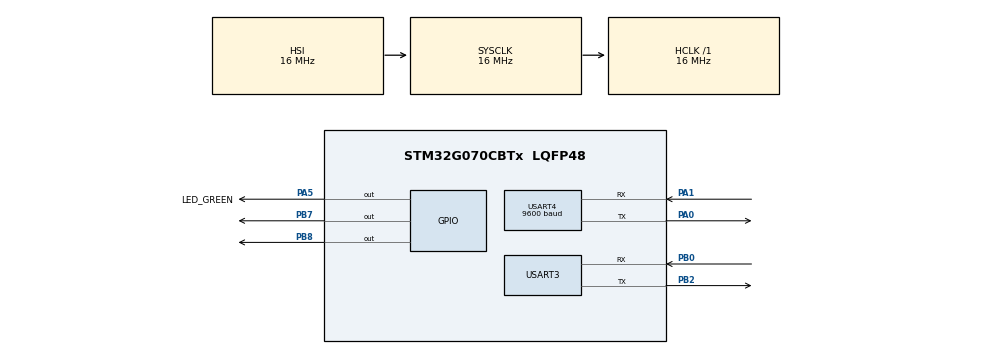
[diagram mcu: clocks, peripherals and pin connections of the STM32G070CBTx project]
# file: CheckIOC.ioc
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Mcu.Family=STM32G0
Mcu.Name=STM32G070CBTx
Mcu.Package=LQFP48
NVIC.USART3_4_IRQn=true\:0\:0\:false\:false\:true\:true\:true\:true
PA0.Mode=Asynchronous
PA0.Signal=USART4_TX
PA1.Mode=Asynchronous
PA1.Signal=USART4_RX
PA13.Mode=Serial_Wire
PA13.Signal=SYS_SWDIO
PA14-BOOT0.Mode=Serial_Wire
PA14-BOOT0.Signal=SYS_SWCLK
PA5.GPIO_Label=LED_GREEN
PA5.GPIO_Speed=GPIO_SPEED_FREQ_HIGH
PA5.Signal=GPIO_Output
PB0.Mode=Asynchronous
PB0.Signal=USART3_RX
PB2.Mode=Asynchronous
PB2.Signal=USART3_TX
PB7.Signal=GPIO_Output
PB8.Signal=GPIO_Output
PC14-OSC32_IN\ (PC14).Mode=LSE-External-Oscillator
PC14-OSC32_IN\ (PC14).Signal=RCC_OSC32_IN
PC15-OSC32_OUT\ (PC15).Mode=LSE-External-Oscillator
PC15-OSC32_OUT\ (PC15).Signal=RCC_OSC32_OUT
PF0-OSC_IN\ (PF0).GPIO_Label=MCO
PF0-OSC_IN\ (PF0).Signal=RCC_OSC_IN
ProjectManager.HeapSize=0x200
ProjectManager.StackSize=0x400
ProjectManager.TargetToolchain=STM32CubeIDE
RCC.AHBFreq_Value=16000000
RCC.CortexFreq_Value=16000000
RCC.EXTERNAL_CLOCK_VALUE=48000
RCC.HCLKFreq_Value=16000000
RCC.HSE_VALUE=8000000
RCC.HSI_VALUE=16000000
RCC.SYSCLKFreq_VALUE=16000000
RCC.VCOOutputFreq_Value=128000000
USART3.VirtualMode-Asynchronous=VM_ASYNC
USART4.BaudRate=9600
USART4.VirtualMode-Asynchronous=VM_ASYNC
board=custom

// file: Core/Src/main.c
/* USER CODE BEGIN Header */
/**
  ******************************************************************************
  * @file           : main.c
  * @brief          : Main program body
  ******************************************************************************
  * @attention
  *
  * Copyright (c) 2024 STMicroelectronics.
  * All rights reserved.
  *
  * This software is licensed under terms that can be found in the LICENSE file
  * in the root directory of this software component.
  * If no LICENSE file comes with this software, it is provided AS-IS.
  *
  ******************************************************************************
  */
/* USER CODE END Header */
#include "main.h"

/* USER CODE BEGIN Includes */
#include <config.h>
#include <mqtt.h>
#include <string.h>
#include <stdio.h>
#include <stdbool.h>
/* USER CODE END Includes */

/* USER CODE BEGIN PD */
#define LED_Pin GPIO_PIN_5
#define LED_GPIO_Port GPIOA

/* USER CODE END PD */

UART_HandleTypeDef huart3;
UART_HandleTypeDef huart4;

/* USER CODE BEGIN PV */
uint8_t txData[] = TX_DATA;
uint8_t data[70] = {0};
HAL_StatusTypeDef Inverter_receive_status ;

/* USER CODE END PV */

void SystemClock_Config(void);
static void MX_GPIO_Init(void);
static void MX_USART3_UART_Init(void);
static void MX_USART4_UART_Init(void);

int main(void)
{

  /* MCU Configuration--------------------------------------------------------*/

  /* Reset of all peripherals, Initializes the Flash interface and the Systick. */
  HAL_Init();

  /* Configure the system clock */
  SystemClock_Config();

  /* Initialize all configured peripherals */
  MX_GPIO_Init();
  MX_USART3_UART_Init();
  MX_USART4_UART_Init();
  /* USER CODE BEGIN 2 */
//  uint8_t data[PACKET_DATA_LENGTH] = {
//  	      0x67, 0xA4, 0x0A, 0x00, 0x00, 0x4F, 0x00, 0x00, 0x00, 0x00, 0x00, 0x00, 0x00, 0xC2, 0x08, 0x47,
//  	      0x00, 0x0D, 0x00, 0x07, 0x00, 0x00, 0x00, 0x00, 0x00, 0x00, 0x00, 0x21, 0x42, 0x00, 0x01, 0x05,
//  	      0x00, 0x00, 0x00, 0x00, 0x00, 0x00, 0x00, 0x00, 0x00, 0x00, 0x00, 0x00, 0x00, 0x00, 0x00, 0x00,
//  	      0x00, 0x00, 0x00, 0x00, 0x00, 0x69, 0x12, 0x34, 0x56, 0x78, 0x9A, 0xBC, 0xDE, 0xF0, 0x11, 0x22,
//  	      0x33, 0x44, 0x55, 0x66, 0x77, 0x88
//  };
  const char static *ca_cert =
"\
-----BEGIN CERTIFICATE-----\n\
MIIDQTCCAimgAwIBAgITBmyfz5m/jAo54vB4ikPmljZbyjANBgkqhkiG9w0BAQsF\n\
ADA5MQswCQYDVQQGEwJVUzEPMA0GA1UEChMGQW1hem9uMRkwFwYDVQQDExBBbWF6\n\
b24gUm9vdCBDQSAxMB4XDTE1MDUyNjAwMDAwMFoXDTM4MDExNzAwMDAwMFowOTEL\n\
MAkGA1UEBhMCVVMxDzANBgNVBAoTBkFtYXpvbjEZMBcGA1UEAxMQQW1hem9uIFJv\n\
b3QgQ0EgMTCCASIwDQYJKoZIhvcNAQEBBQADggEPADCCAQoCggEBALJ4gHHKeNXj\n\
ca9HgFB0fW7Y14h29Jlo91ghYPl0hAEvrAIthtOgQ3pOsqTQNroBvo3bSMgHFzZM\n\
9O6II8c+6zf1tRn4SWiw3te5djgdYZ6k/oI2peVKVuRF4fn9tBb6dNqcmzU5L/qw\n\
IFAGbHrQgLKm+a/sRxmPUDgH3KKHOVj4utWp+UhnMJbulHheb4mjUcAwhmahRWa6\n\
VOujw5H5SNz/0egwLX0tdHA114gk957EWW67c4cX8jJGKLhD+rcdqsq08p8kDi1L\n\
93FcXmn/6pUCyziKrlA4b9v7LWIbxcceVOF34GfID5yHI9Y/QCB/IIDEgEw+OyQm\n\
jgSubJrIqg0CAwEAAaNCMEAwDwYDVR0TAQH/BAUwAwEB/zAOBgNVHQ8BAf8EBAMC\n\
AYYwHQYDVR0OBBYEFIQYzIU07LwMlJQuCFmcx7IQTgoIMA0GCSqGSIb3DQEBCwUA\n\
A4IBAQCY8jdaQZChGsV2USggNiMOruYou6r4lK5IpDB/G/wkjUu0yKGX9rbxenDI\n\
U5PMCCjjmCXPI6T53iHTfIUJrU6adTrCC2qJeHZERxhlbI1Bjjt/msv0tadQ1wUs\n\
N+gDS63pYaACbvXy8MWy7Vu33PqUXHeeE6V/Uq2V8viTO96LXFvKWlJbYK8U90vv\n\
o/ufQJVtMVT8QtPHRh8jrdkPSHCa2XV4cdFyQzR1bldZwgJcJmApzyMZFo6IQ6XU\n\
5MsI+yMRQ+hDKXJioaldXgjUkK642M4UwtBV8ob2xJNDd2ZhwLnoQdeXeGADbkpy\n\
rqXRfboQnoZsG4q5WTP468SQvvG5\n\
-----END CERTIFICATE-----\n\
";

  const char static *client_cert =
"\
-----BEGIN CERTIFICATE-----\n\
MIIDWjCCAkKgAwIBAgIVAIA8A7zHYbDu5KbIVfmvcL1SkCnDMA0GCSqGSIb3DQEB\n\
CwUAME0xSzBJBgNVBAsMQkFtYXpvbiBXZWIgU2VydmljZXMgTz1BbWF6b24uY29t\n\
IEluYy4gTD1TZWF0dGxlIFNUPVdhc2hpbmd0b24gQz1VUzAeFw0yNDA5MjUwODA2\n\
MTJaFw00OTEyMzEyMzU5NTlaMB4xHDAaBgNVBAMME0FXUyBJb1QgQ2VydGlmaWNh\n\
dGUwggEiMA0GCSqGSIb3DQEBAQUAA4IBDwAwggEKAoIBAQCWo14QKB32Gq0SftMD\n\
1yjGHJiboqGZOtc0xl99qqigIygAHr6dXTrKA7Mc/MIpOtRs0u/iFpAzKIRO70iG\n\
BHvTMkyjfMqIvkjGX894TTKFta8Xnjnc+l9WHK2rcRrH9TsV4HVmDfKKwHrDMlSw\n\
o5UYvjJgeP+ip24ZDciCGw5XdToZcgXuYoUo4EqRGJAm17VREOeV5eM8vXW+GZM6\n\
tDu6HW/i6i7e+S6MUgwD0le9tLh7p4COLDE7u0d/iXw9lqMRJ4OkVDArIeaa1Omc\n\
ZmulyU5gZUILg7ld3PNo6W9qNqdj3GdMuo8UuloH1jxOCxV10O4kQ63+kn3SEHGk\n\
tQrFAgMBAAGjYDBeMB8GA1UdIwQYMBaAFIp6qbehQFNJ/U305+QhnnufqTo1MB0G\n\
A1UdDgQWBBTPObeEr7PK8ewAUD4aeZTp7bDGLzAMBgNVHRMBAf8EAjAAMA4GA1Ud\n\
DwEB/wQEAwIHgDANBgkqhkiG9w0BAQsFAAOCAQEAT0H/aDIh61kuFnFJieVYyHok\n\
W+n/eiUivX5/xnPuwyvzQngoWrHeMzgZWGGjJ/FJhA1eVwSSQ7rX5ZmM6WwSBSd+\n\
oiJLwcMq+MmCCmnrzFiEh1dpdb1y9RHOVTJ1tWgQhcy3A3LTYIMaBwfK9sXKbLOt\n\
cUfeN+Uotbc7PP7DV8mKJq3laKngSt+gfNmbWKmEq+IAOOn45VMezgveWU7ywMaW\n\
+VVFIfQ6egWI/LIM40qMaHNHy0Jsa9WsKTDNuk339jN3dyOtJzps09nxRV+mmDOs\n\
87Zw2WpPlM+EtKwnOK2yeUd19HGlw0nev4moExWsbGGww0ZzDiiv5UKQO9a9Qg==\n\
-----END CERTIFICATE-----\n\
";

  const char static *private_key =
"\
-----BEGIN RSA PRIVATE KEY-----\n\
MIIEowIBAAKCAQEAlqNeECgd9hqtEn7TA9coxhyYm6KhmTrXNMZffaqooCMoAB6+\n\
nV06ygOzHPzCKTrUbNLv4haQMyiETu9IhgR70zJMo3zKiL5Ixl/PeE0yhbWvF545\n\
3PpfVhytq3Eax/U7FeB1Zg3yisB6wzJUsKOVGL4yYHj/oqduGQ3IghsOV3U6GXIF\n\
7mKFKOBKkRiQJte1URDnleXjPL11vhmTOrQ7uh1v4uou3vkujFIMA9JXvbS4e6eA\n\
jiwxO7tHf4l8PZajESeDpFQwKyHmmtTpnGZrpclOYGVCC4O5XdzzaOlvajanY9xn\n\
TLqPFLpaB9Y8TgsVddDuJEOt/pJ90hBxpLUKxQIDAQABAoIBAB8vHKbdly4+YXvF\n\
s2tFHFS+0LzPUwLEko6DTntWW+givwIfWzh6d1QgpfCnRo6Adj88/5nfL+TXS2SH\n\
1oyf2v5imEjz6X2bXrdqWCnAWWgir2eFQtdDIX9TGoS2OmQQmTWzLLp+wqoEpKVK\n\
Aww6IQBpR0Z/ZfRHEtyu5MZCUZq7AYi34rwwVJiS71L0xNCxg9+R9s8KWCjWjn50\n\
5WzeXZinisNB8oyt7H6dexl5oSOjR4Xwmp+7eZ3WlBj0YBsjlenWmgzyzAOXDKrx\n\
gSOcCQUal3vhOUitAd1iF4iN6bRqL8aABnzE4Pl+l9R5TCGSSLef2dHO6aKRNUzG\n\
Q0D/X1UCgYEAxMJz9WFy6jdYClyScQZbY/M0FN5YRqxib5DVjoY71Vq3olase5hq\n\
hLqhzDjNTexveL8WfnOHpcFeFVe5ee4ErthJwKiqNS/x5y5txOFWp1Tkeyrs9P/W\n\
tsxdldYK5WpxE2Jpn9iPoUgDSCVEoL8Nl+I1QZ9p8a6UAYbeYhszVqMCgYEAw/4I\n\
2W6OHI8BaaAYm8AAJaUUFY1SHOQCMzLhotC9kOdZNY8r1a5xWySLSiJe8GU8W8Wy\n\
YJ03b5VORYFgUgYi9rRzVz9tM/pkzt9yJIo0pP2EhhmWKwHbuGK9fCE618Wxr7Fe\n\
6PNgsUKGP7LO4j7YKV1USGx1IomRPBTvhuZGd3cCgYEAlGVkN6lrliJvkEEJYZ09\n\
yEBhA2w+f+77vtEpf/jVn7Bv10wvgngNvlVUOkaM8TxlRlg4it5vbCBO6SHkjYVq\n\
msQdu+R5muuyMn3d5CNfy4xHVm2lkZJzSiMQYjWwuh5xcgFDUH9wtF8vunYBMItn\n\
oSnGqNumd9UHY69oge2p5qkCgYBQUIF/2HYT7eY+SoTLDlsBEiywyECl5imgoXEl\n\
LzT/dE5yTEFCR0Hcf5U0w/DzwgiB8vmt7b8R0rVIdkPqWOlq/3dkgXFWo3076QT1\n\
RE1ebyUnbsTCyvgnDw9nFpbuZOzzelPSUimFeiVZZQSyYd5i1QP8ybUWehkx7cJa\n\
HXMy8QKBgALoOyjA4OM6E/addbhYgr7NfizU2M/7LU73Z3YRHqvzbT1mibHfQYp+\n\
ODuWXHRRTonXJLqVnRSsnszcqzeOkzZcleI4/0p7oWW5RWqEyHsa7OSwGqH9T0Cf\n\
L3hf30HuwtvmHlz/86avjZWig+Ww78pdo9jnsT8pXIOkH3Aj+Q+r\n\
-----END RSA PRIVATE KEY-----\n\
";
  bool cert1_status = false;
  bool cert2_status = false;
  bool cert3_status = false;
  //Quecteloff();
  Quectelon();

  while (!cert1_status){
	  cert1_status =  uploadcertificate1(ca_cert);
  }
  while (!cert2_status){
	  cert2_status =  uploadcertificate2(client_cert);
  }
  while (!cert3_status){
	  cert3_status =  uploadcertificate3(private_key);
  }
  assignPDPcontext();
  checkConnection();
  initializeMQTT();

  /* USER CODE END 2 */

  /* Infinite loop */
  while (1)
  {

    /* USER CODE BEGIN 3 */
//	  bool rcvmessage = false;
//	  Subscribetotopic("testpub1");
//	  memset(buffer, 0, sizeof(buffer));
//	  while(!rcvmessage)
//	  {
//		  rcvmessage = receiveMessage(400, 30000);
//		  HAL_Delay(30000);
//	  }
//	  UnsubscribefromTopic("testpub1");

	  bool TransmitDataMqtt_flag = false;

//
	  HAL_StatusTypeDef Inverter_receive_status=HAL_TIMEOUT;
	  while(Inverter_receive_status!=HAL_OK){
		  HAL_UART_Transmit_IT(&huart4, txData, sizeof(txData));
	  	  Inverter_receive_status=HAL_UART_Receive(&huart4, data, 70,3000);
	  	  HAL_GPIO_TogglePin(LED_GPIO_Port, LED_Pin);
	  }
	    // Transmit Data via MQTT through Quectel
	  uint8_t debug = 1;

	    TransmitDataMqtt_flag = TransmitDataMqtt(data,PACKET_DATA_LENGTH,&debug);

	    uint32_t last_tick = HAL_GetTick(); // Initialize the last tick time
	    while (((HAL_GetTick() - last_tick)) < MINUTES_INTERVAL)
	    {
	      if (TransmitDataMqtt_flag)
	      {

	        // Transmission Successful
	        HAL_GPIO_WritePin(LED_GPIO_Port, LED_Pin, GPIO_PIN_SET);
	        HAL_Delay(500);
	        HAL_GPIO_WritePin(LED_GPIO_Port, LED_Pin, GPIO_PIN_RESET);
	        HAL_Delay(500);
	      }
	      else
	      {
	        // Transmission Failed
	        HAL_GPIO_WritePin(LED_GPIO_Port, LED_Pin, GPIO_PIN_SET);
	        HAL_Delay(1500);
	        HAL_GPIO_WritePin(LED_GPIO_Port, LED_Pin, GPIO_PIN_RESET);
	        HAL_Delay(1500);
	      }
	    }

  }
  /* USER CODE END 3 */
}

void SystemClock_Config(void)
{
  RCC_OscInitTypeDef RCC_OscInitStruct = {0};
  RCC_ClkInitTypeDef RCC_ClkInitStruct = {0};

  /** Configure the main internal regulator output voltage
  */
  HAL_PWREx_ControlVoltageScaling(PWR_REGULATOR_VOLTAGE_SCALE1);

  /** Initializes the RCC Oscillators according to the specified parameters
  * in the RCC_OscInitTypeDef structure.
  */
  RCC_OscInitStruct.OscillatorType = RCC_OSCILLATORTYPE_HSI;
  RCC_OscInitStruct.HSIState = RCC_HSI_ON;
  RCC_OscInitStruct.HSIDiv = RCC_HSI_DIV1;
  RCC_OscInitStruct.HSICalibrationValue = RCC_HSICALIBRATION_DEFAULT;
  RCC_OscInitStruct.PLL.PLLState = RCC_PLL_NONE;
  if (HAL_RCC_OscConfig(&RCC_OscInitStruct) != HAL_OK)
  {
    Error_Handler();
  }

  /** Initializes the CPU, AHB and APB buses clocks
  */
  RCC_ClkInitStruct.ClockType = RCC_CLOCKTYPE_HCLK|RCC_CLOCKTYPE_SYSCLK
                              |RCC_CLOCKTYPE_PCLK1;
  RCC_ClkInitStruct.SYSCLKSource = RCC_SYSCLKSOURCE_HSI;
  RCC_ClkInitStruct.AHBCLKDivider = RCC_SYSCLK_DIV1;
  RCC_ClkInitStruct.APB1CLKDivider = RCC_HCLK_DIV1;

  if (HAL_RCC_ClockConfig(&RCC_ClkInitStruct, FLASH_LATENCY_0) != HAL_OK)
  {
    Error_Handler();
  }
}

static void MX_USART3_UART_Init(void)
{

  huart3.Instance = USART3;
  huart3.Init.BaudRate = 115200;
  huart3.Init.WordLength = UART_WORDLENGTH_8B;
  huart3.Init.StopBits = UART_STOPBITS_1;
  huart3.Init.Parity = UART_PARITY_NONE;
  huart3.Init.Mode = UART_MODE_TX_RX;
  huart3.Init.HwFlowCtl = UART_HWCONTROL_NONE;
  huart3.Init.OverSampling = UART_OVERSAMPLING_16;
  huart3.Init.OneBitSampling = UART_ONE_BIT_SAMPLE_DISABLE;
  huart3.Init.ClockPrescaler = UART_PRESCALER_DIV1;
  huart3.AdvancedInit.AdvFeatureInit = UART_ADVFEATURE_NO_INIT;
  if (HAL_UART_Init(&huart3) != HAL_OK)
  {
    Error_Handler();
  }

}

static void MX_USART4_UART_Init(void)
{

  huart4.Instance = USART4;
  huart4.Init.BaudRate = 9600;
  huart4.Init.WordLength = UART_WORDLENGTH_8B;
  huart4.Init.StopBits = UART_STOPBITS_1;
  huart4.Init.Parity = UART_PARITY_NONE;
  huart4.Init.Mode = UART_MODE_TX_RX;
  huart4.Init.HwFlowCtl = UART_HWCONTROL_NONE;
  huart4.Init.OverSampling = UART_OVERSAMPLING_16;
  huart4.Init.OneBitSampling = UART_ONE_BIT_SAMPLE_DISABLE;
  huart4.Init.ClockPrescaler = UART_PRESCALER_DIV1;
  huart4.AdvancedInit.AdvFeatureInit = UART_ADVFEATURE_NO_INIT;
  if (HAL_UART_Init(&huart4) != HAL_OK)
  {
    Error_Handler();
  }

}

static void MX_GPIO_Init(void)
{
  GPIO_InitTypeDef GPIO_InitStruct = {0};

  /* GPIO Ports Clock Enable */
  __HAL_RCC_GPIOC_CLK_ENABLE();
  __HAL_RCC_GPIOF_CLK_ENABLE();
  __HAL_RCC_GPIOA_CLK_ENABLE();
  __HAL_RCC_GPIOB_CLK_ENABLE();

  /*Configure GPIO pin Output Level */
  HAL_GPIO_WritePin(LED_GREEN_GPIO_Port, LED_GREEN_Pin, GPIO_PIN_RESET);

  /*Configure GPIO pin Output Level */
  HAL_GPIO_WritePin(GPIOB, GPIO_PIN_7|GPIO_PIN_8, GPIO_PIN_RESET);

  /*Configure GPIO pin : LED_GREEN_Pin */
  GPIO_InitStruct.Pin = LED_GREEN_Pin;
  GPIO_InitStruct.Mode = GPIO_MODE_OUTPUT_PP;
  GPIO_InitStruct.Pull = GPIO_NOPULL;
  GPIO_InitStruct.Speed = GPIO_SPEED_FREQ_HIGH;
  HAL_GPIO_Init(LED_GREEN_GPIO_Port, &GPIO_InitStruct);

  /*Configure GPIO pins : PB7 PB8 */
  GPIO_InitStruct.Pin = GPIO_PIN_7|GPIO_PIN_8;
  GPIO_InitStruct.Mode = GPIO_MODE_OUTPUT_PP;
  GPIO_InitStruct.Pull = GPIO_NOPULL;
  GPIO_InitStruct.Speed = GPIO_SPEED_FREQ_LOW;
  HAL_GPIO_Init(GPIOB, &GPIO_InitStruct);

}

void Error_Handler(void)
{
  __disable_irq();
  while (1)
  {
  }
}
